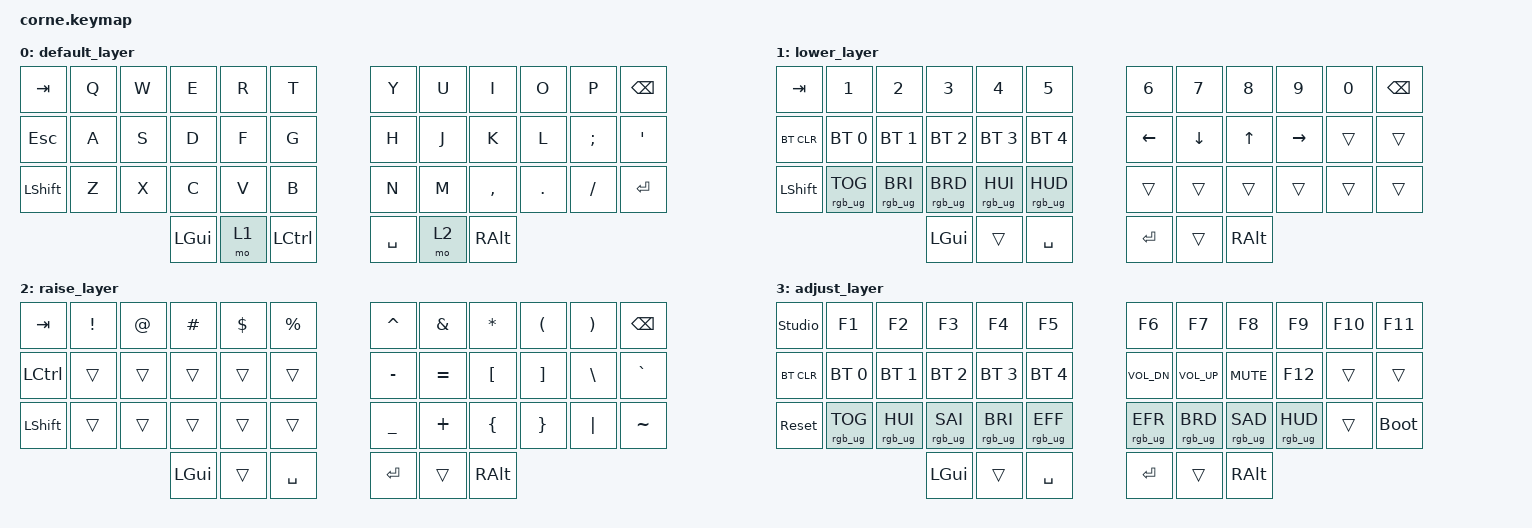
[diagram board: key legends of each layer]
/*
 * Copyright (c) 2020 The ZMK Contributors
 *
 * SPDX-License-Identifier: MIT
 */

#include <behaviors.dtsi>
#include <dt-bindings/zmk/keys.h>
#include <dt-bindings/zmk/bt.h>
#include <dt-bindings/zmk/rgb.h>

/ {
    conditional_layers {
        compatible = "zmk,conditional-layers";
        tri_layer {
            if-layers = <1 2>;
            then-layer = <3>;
        };
    };

    keymap {
        compatible = "zmk,keymap";

        default_layer {
// -----------------------------------------------------------------------------------------
// |  TAB |  Q  |  W  |  E  |  R  |  T  |   |  Y  |  U   |  I  |  O  |  P  | BSPC |
// |  ESC |  A  |  S  |  D  |  F  |  G  |   |  H  |  J   |  K  |  L  |  ;  |  '   |
// | SHFT |  Z  |  X  |  C  |  V  |  B  |   |  N  |  M   |  ,  |  .  |  /  | ESC  |
//                    | GUI | LWR | SPC |   | ENT | RSE  | ALT |
            bindings = <
&kp TAB   &kp Q &kp W &kp E &kp R &kp T   &kp Y &kp U  &kp I     &kp O   &kp P    &kp BSPC
&kp ESC   &kp A &kp S &kp D &kp F &kp G   &kp H &kp J  &kp K     &kp L   &kp SEMI &kp SQT
&kp LSHFT &kp Z &kp X &kp C &kp V &kp B   &kp N &kp M  &kp COMMA &kp DOT &kp FSLH &kp RET
                &kp LGUI &mo 1 &kp LCTRL  &kp SPACE &mo 2 &kp RALT
            >;
        };

        lower_layer {
// -----------------------------------------------------------------------------------------
// |  TAB |  1  |  2  |  3  |  4  |  5  |   |  6  |  7  |  8  |  9  |  0  | BSPC |
// | BTCLR| BT1 | BT2 | BT3 | BT4 | BT5 |   | LFT | DWN |  UP | RGT |     |      |
// | SHFT | RGB | RGB+| RGB-| HUE+| HUE-|   |     |     |     |     |     |      |
//                    | GUI |     | SPC |   | ENT |     | ALT |
            bindings = <
&kp TAB    &kp N1       &kp N2       &kp N3       &kp N4       &kp N5         &kp N6   &kp N7   &kp N8 &kp N9    &kp N0 &kp BSPC
&bt BT_CLR &bt BT_SEL 0 &bt BT_SEL 1 &bt BT_SEL 2 &bt BT_SEL 3 &bt BT_SEL 4   &kp LEFT &kp DOWN &kp UP &kp RIGHT &trans &trans
&kp LSHFT  &rgb_ug RGB_TOG &rgb_ug RGB_BRI &rgb_ug RGB_BRD &rgb_ug RGB_HUI &rgb_ug RGB_HUD &trans &trans &trans &trans &trans &trans
                                    &kp LGUI     &trans       &kp SPACE      &kp RET  &trans   &kp RALT
            >;
        };

        raise_layer {
// -----------------------------------------------------------------------------------------
// |  TAB |  !  |  @  |  #  |  $  |  %  |   |  ^  |  &  |  *  |  (  |  )  | BSPC |
// | CTRL |     |     |     |     |     |   |  -  |  =  |  [  |  ]  |  \  |  `   |
// | SHFT |     |     |     |     |     |   |  _  |  +  |  {  |  }  | "|" |  ~   |
//                    | GUI |     | SPC |   | ENT |     | ALT |
            bindings = <
&kp  TAB  &kp EXCL &kp AT &kp HASH &kp DLLR &kp PRCNT   &kp CARET &kp AMPS  &kp ASTRK &kp LPAR &kp RPAR &kp BSPC
&kp LCTRL &trans   &trans &trans   &trans   &trans      &kp MINUS &kp EQUAL &kp LBKT  &kp RBKT &kp BSLH &kp GRAVE
&kp LSHFT &trans   &trans &trans   &trans   &trans      &kp UNDER &kp PLUS  &kp LBRC  &kp RBRC &kp PIPE &kp TILDE
                        &kp LGUI &trans   &kp SPACE   &kp RET   &trans    &kp RALT
            >;
        };

        adjust_layer {
// -----------------------------------------------------------------------------------------
// | UNLOCK| F1  | F2  | F3  | F4  | F5  |   | F6  | F7  | F8  | F9  | F10 | F11 |
// | BTCLR | BT1 | BT2 | BT3 | BT4 | BT5 |   | VOL-| VOL+| MUTE| F12 |     |     |
// | RESET | RGB | HUE+| SAT+| BRI+| EFF+|   | EFF-| BRI-| SAT-| HUE-|     | BOOT|
//                     | GUI |     | SPC |   | ENT |     | ALT |
            bindings = <
&studio_unlock &kp F1    &kp F2       &kp F3       &kp F4       &kp F5         &kp F6       &kp F7       &kp F8       &kp F9       &kp F10   &kp F11
&bt BT_CLR &bt BT_SEL 0 &bt BT_SEL 1 &bt BT_SEL 2 &bt BT_SEL 3 &bt BT_SEL 4   &kp C_VOL_DN &kp C_VOL_UP &kp C_MUTE   &kp F12      &trans    &trans
&sys_reset &rgb_ug RGB_TOG &rgb_ug RGB_HUI &rgb_ug RGB_SAI &rgb_ug RGB_BRI &rgb_ug RGB_EFF &rgb_ug RGB_EFR &rgb_ug RGB_BRD &rgb_ug RGB_SAD &rgb_ug RGB_HUD &trans &bootloader
                                    &kp LGUI     &trans       &kp SPACE      &kp RET      &trans       &kp RALT
            >;
        };
    };
};
